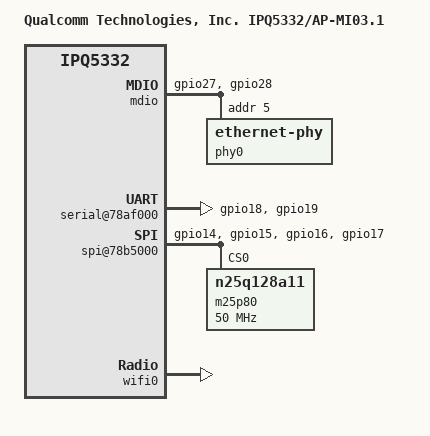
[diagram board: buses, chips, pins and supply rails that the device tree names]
// SPDX-License-Identifier: (GPL-2.0+ OR BSD-3-Clause)
/*
 * IPQ5332 AP-MI03.1 board device tree source
 *
 * Copyright (c) 2020-2021 The Linux Foundation. All rights reserved.
 * Copyright (c) 2022 Qualcomm Innovation Center, Inc. All rights reserved.
 */

/dts-v1/;

#include "ipq5332.dtsi"
#include "ipq5332-memory.dtsi"

/ {
	#address-cells = <0x2>;
	#size-cells = <0x2>;
	model = "Qualcomm Technologies, Inc. IPQ5332/AP-MI03.1";
	compatible = "qcom,ipq5332-ap-mi03.1", "qcom,ipq5332";
	interrupt-parent = <&intc>;

	aliases {
		serial0 = &blsp1_uart0;
	};

	chosen {
		stdout-path = "serial0";
		bootargs-append = " clk_ignore_unused";
	};

	soc {
		pinctrl@1000000 {
			spi_0_pins: spi0-pinmux {
				spi_clock {
					pins = "gpio14";
					function = "blsp0_spi";
					drive-strength = <2>;
					bias-pull-down;
				};

				spi_mosi {
					pins = "gpio15";
					function = "blsp0_spi";
					drive-strength = <2>;
					bias-pull-down;
				};

				spi_miso {
					pins = "gpio16";
					function = "blsp0_spi";
					drive-strength = <2>;
					bias-pull-down;
				};

				spi_cs {
					pins = "gpio17";
					function = "blsp0_spi";
					drive-strength = <2>;
					bias-pull-up;
				};
			};

			serial_0_pins: serial0-pinmux {
				pins = "gpio18", "gpio19";
				function = "blsp0_uart0";
				drive-strength = <8>;
				bias-pull-up;
			};

			mdio1_pins: mdio_pinmux {
				mux_0 {
					pins = "gpio27";
					function = "mdc1";
					drive-strength = <2>;
					bias-pull-up;
				};
				mux_1 {
					pins = "gpio28";
					function = "mdio1";
					drive-strength = <2>;
					bias-pull-up;
				};
			};
		};

		mdio:mdio@90000 {
			status = "ok";
			pinctrl-0 = <&mdio1_pins>;
			pinctrl-names = "default";
			/*gpio31 for 8033 reset, gpio22 for s17c reset*/
			phy-reset-gpio = <&tlmm 31 0 &tlmm 22 0>;
			phy0: ethernet-phy@0 {
				reg = <5>;
			};
		};

		ess-instance {
			num_devices = <0x2>;
			ess-switch@3a000000 {
				switch_cpu_bmp = <0x1>;  /* cpu port bitmap */
				switch_lan_bmp = <0x2>; /* lan port bitmap */
				switch_wan_bmp = <0x4>; /* wan port bitmap */
				switch_mac_mode = <0xf>; /* mac mode for uniphy instance0*/
				switch_mac_mode1 = <0xf>; /* mac mode for uniphy instance1*/
				switch_mac_mode2 = <0xff>; /* mac mode for uniphy instance2*/
				qcom,port_phyinfo {
					port@0 {
						port_id = <1>;
						forced-speed = <1000>;
						forced-duplex = <1>;
					};
					port@1 {
						port_id = <2>;
						phy_address = <5>;
						mdiobus = <&mdio>;
					};
				};
			};

			ess-switch1@1 {
				compatible = "qcom,ess-switch-qca83xx";
				device_id = <1>;
				switch_access_mode = "mdio";
				mdio-bus = <&mdio>;
				reset_gpio = <&tlmm 22 0>;
				switch_cpu_bmp = <0x1>;  /* cpu port bitmap */
				switch_lan_bmp = <0x38>; /* lan port bitmap */
				switch_wan_bmp = <0x0>;  /* wan port bitmap */
				link-polling-required = <0>;
				link-intr-gpio = <&tlmm 24 0>;
				qca,ar8327-initvals = <
						0x00004 0x80        /* PAD0_MODE */
						0x00008 0           /* PAD5_MODE */
						0x0000c 0           /* PAD6_MODE */
						0x00010 0x2613a0    /* PORT0 FORCE MODE*/
						0x000e4 0xaa545     /* MAC_POWER_SEL */
						0x000e0 0xc74164de  /* SGMII_CTRL */
						0x0007c 0x4e        /* PORT0_STATUS */
						0x00094 0           /* PORT6_STATUS */
				>;
				qcom,port_phyinfo {
					port@3 {
						port_id = <3>;
						phy_address = <2>;
					};
					port@4 {
						port_id = <4>;
						phy_address = <3>;
					};
					port@5 {
						port_id = <5>;
						phy_address = <4>;
					};
				};
			};
		};

		serial@78af000 {
			pinctrl-0 = <&serial_0_pins>;
			pinctrl-names = "default";
			status = "ok";
		};

		spi@78b5000 {
			pinctrl-0 = <&spi_0_pins>;
			pinctrl-names = "default";
			cs-select = <0>;
			status = "ok";

			m25p80@0 {
				compatible = "n25q128a11";
				#address-cells = <1>;
				#size-cells = <1>;
				reg = <0>;
				spi-max-frequency = <50000000>;
			};
		};

		q6v5_wcss: remoteproc@d100000 {
			memory-region = <&q6_region>;
		};

		/delete-node/ tmc@4048000;
		/delete-node/ replicator@4046000;
		/delete-node/ etf@4047000;
		/delete-node/ funnel@4045000;
		/delete-node/ funnel@4041000;
		/delete-node/ funnel@4042000;
		/delete-node/ stm@4002000;
		/delete-node/ funnel@50a1000;
		/delete-node/ etm@509c000;
		/delete-node/ etm@509d000;
		/delete-node/ etm@509e000;
		/delete-node/ etm@509f000;
	};
};

&wifi0 {
	qcom,rproc = <&q6_wcss_pd1>;
	qcom,multipd_arch;
	qcom,userpd-subsys-name = "q6v5_wcss_userpd1";
	mem-region = <&q6_region>;
	qcom,board_id = <0x11>;
	status = "ok";
};
